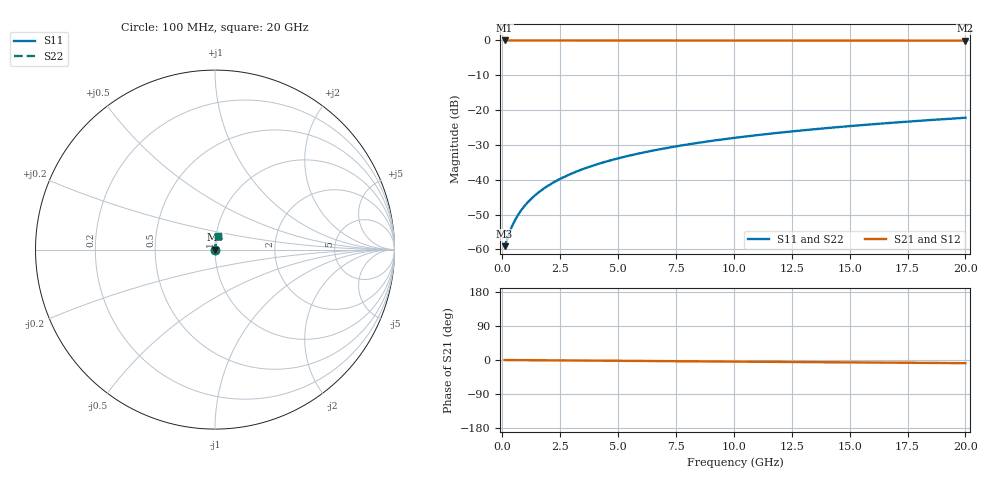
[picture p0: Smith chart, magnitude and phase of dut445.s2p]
! Touchstone file exported from HFSS 2026.1.0
!  File:  C:/ffzhzh/LocalFiles/Ansys_Project_Files/temp_train_TMRDL_445_1783005729_55676.aedt
!  Generated:  11:23:26 PM Jul  2, 2026
!  Design:  TMRDL
!  Project:  temp_train_TMRDL_445_1783005729_55676
! Variables:
!  h_bsmrdl = 2um
!  h_ox = 20um
!  h_rdl = 5um
!  h_sub = 80um
!  h_tmrdl = 3.33um
!  h_tsv = 80um
!  h_via = 3um
!  l_bsmrdl = 300um
!  l_sub = 507.09um
!  l_tmrdl = 107.09um
!  m_sub = 200um
!  pitch = 27.94um
!  r_tsv = 6um
!  s_tmrdl = 10um
!  w_bsmrdl = 18um
!  w_sub = 500um
!  w_tmrdl = 13.94um
!  x_tsv_center1 = 114.06um
!  x_tsv_center2 = 432.06um
!  x_tsv_center3 = 553.09um
!  x_tsv_center4 = 871.09um
!  x_tsv_center5 = 992.12um
!  x_tsv_center6 = 1310.12um
# GHz S MA R 50.000000
! Terminal data exported
! Port[1] = TM_RDL1_1_T1
! Port[2] = TM_RDL1_1_T2
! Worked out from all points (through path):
!   200 points, 100 MHz to 20 GHz, reference 50 ohm
!   highest |S21| = -0.01 dB at 100 MHz (marker M1); lowest = -0.1 dB at 20 GHz (marker M2)
!   group delay of S21, straight-line fit = 1.15 ps
!   lowest |S11| = -59.1 dB at 100 MHz (marker M3), VSWR 1.00, Z = 50.1 + j0.0453 ohm
!   |S11| at or under -10 dB: start of sweep to end of sweep
!   |S22| runs from -59.1 to -22.2 dB; largest |S21 - S12| = 3.1e-15
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0.1  0.001113 24.0  0.999 -0.0  0.999 -0.0  0.001113 24.0
! Gamma 0 0 0 0
! Port Impedance 50 0 50 0
0.3  0.001707 51.0  0.9989 -0.1  0.9989 -0.1  0.001707 51.0
0.4  0.002069 57.6  0.9989 -0.2  0.9989 -0.2  0.002069 57.6
0.5  0.002441 62.2  0.9989 -0.2  0.9989 -0.2  0.002441 62.2
0.6  0.002817 65.5  0.9988 -0.3  0.9988 -0.3  0.002817 65.5
0.7  0.003197 68.1  0.9988 -0.3  0.9988 -0.3  0.003197 68.1
0.9  0.003965 71.8  0.9988 -0.4  0.9988 -0.4  0.003965 71.8
1.2  0.005132 75.4  0.9987 -0.5  0.9987 -0.5  0.005132 75.4
1.4  0.005918 77.0  0.9987 -0.6  0.9987 -0.6  0.005918 77.0
1.7  0.007105 78.8  0.9987 -0.7  0.9987 -0.7  0.007105 78.8
2.2  0.009098 80.6  0.9986 -0.9  0.9986 -0.9  0.009098 80.6
2.8  0.0115 81.9  0.9985 -1.2  0.9985 -1.2  0.0115 81.9
3.5  0.0143 82.6  0.9984 -1.5  0.9984 -1.5  0.0143 82.6
4.2  0.0171 83.0  0.9983 -1.8  0.9983 -1.8  0.0171 83.0
5  0.02029 83.2  0.9981 -2.1  0.9981 -2.1  0.02029 83.2
5.9  0.02385 83.2  0.9979 -2.5  0.9979 -2.5  0.02385 83.2
6.8  0.0274 83.1  0.9977 -2.9  0.9977 -2.9  0.0274 83.1
8.3  0.03326 82.7  0.9973 -3.5  0.9973 -3.5  0.03326 82.7
10.1  0.04023 82.2  0.9967 -4.3  0.9967 -4.3  0.04023 82.2
13.4  0.05284 81.2  0.9957 -5.6  0.9957 -5.6  0.05284 81.2
16.7  0.06529 80.1  0.9945 -7.0  0.9945 -7.0  0.06529 80.1
20  0.07762 78.9  0.9933 -8.3  0.9933 -8.3  0.07762 78.9
